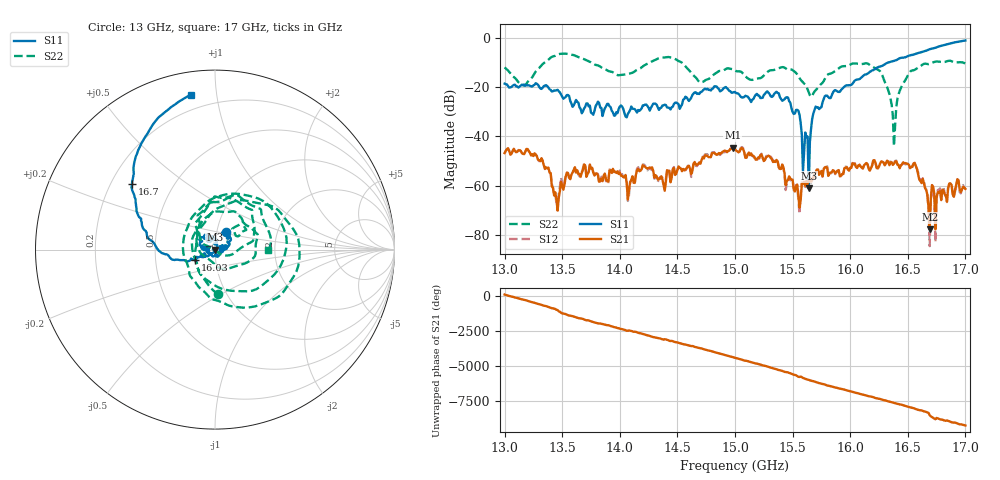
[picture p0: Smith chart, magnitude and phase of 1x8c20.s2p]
!Keysight Technologies,P9374A,MY57211807,A.19.30.04
!Date: Friday, May 08, 2026 15:09:24
!Correction: S11(C  2-Port  )
!S21(C  2-Port  )
!S12(C  2-Port  )
!S22(C  2-Port  )
!S2P File: Measurements: S11, S21, S12, S22:
# Hz S  dB  R 50
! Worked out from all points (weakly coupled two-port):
!   401 points, 13 GHz to 17 GHz, reference 50 ohm
!   highest |S21| = -44.46 dB at 14.98 GHz (marker M1); lowest = -77.5 dB at 16.69 GHz (marker M2)
!   lowest |S11| = -61.0 dB at 15.64 GHz (marker M3), VSWR 1.00, Z = 49.9 - j0.037 ohm
!   |S11| at or under -10 dB: start of sweep to 16.34 GHz
!   |S22| runs from -43.9 to -6.5 dB; largest |S21 - S12| = 0.00041
!   S11 on the Smith chart (normalised r, x): 13 GHz: 1.11, +0.22; 16.03 GHz: 0.79, -0.09; 16.7 GHz: 0.29, +0.32; 17 GHz: 0.12, +0.85
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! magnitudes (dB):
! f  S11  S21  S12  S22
! 13 GHz  -18.6  -46.7  -46.8  -12.1
! 13.26 GHz  -19.1  -46.9  -46.8  -14.4
! 13.45 GHz  -21.3  -65.5  -66.7  -7.2
! 13.67 GHz  -30.6  -54.6  -54.4  -8.4
! 14 GHz  -27.9  -54.6  -53.7  -15.2
! 14.34 GHz  -29.3  -57.0  -57.1  -8.4
! 14.7 GHz  -22.0  -51.0  -50.7  -18.2
! 14.98 GHz  -22.3  -44.5  -44.5  -12.8
! 15 GHz  -22.0  -45.1  -44.9  -13.2
! 15.3 GHz  -22.9  -48.0  -47.6  -13.4
! 15.46 GHz  -24.3  -57.6  -57.7  -12.9
! 15.64 GHz  -61.0  -58.1  -58.2  -22.0
! 15.67 GHz  -32.9  -57.5  -57.6  -23.5
! 16.03 GHz  -18.0  -51.2  -51.1  -10.5
! 16.25 GHz  -11.8  -52.1  -52.2  -13.3
! 16.34 GHz  -10.0  -51.6  -51.1  -22.8
! 16.38 GHz  -9.4  -51.0  -50.5  -43.9
! 16.44 GHz  -8.2  -51.6  -51.8  -20.4
! 16.57 GHz  -6.5  -51.9  -51.9  -12.8
! 16.69 GHz  -4.7  -77.5  -84.3  -10.6
! 16.7 GHz  -4.6  -65.0  -66.2  -10.4
! 17 GHz  -1.2  -61.2  -61.3  -10.6
